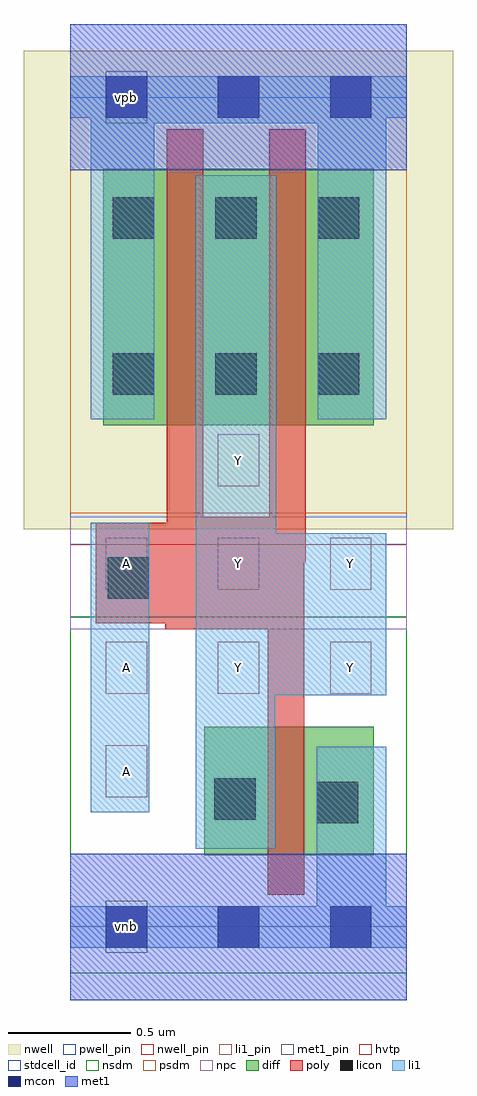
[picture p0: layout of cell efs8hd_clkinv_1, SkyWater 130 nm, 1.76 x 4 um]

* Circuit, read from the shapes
.subckt efs8hd_clkinv_1 A Y vgnd vnb vpb vpwr
XM1 vgnd A Y vnb sky130_fd_pr__nfet_01v8 w=0.525 l=0.15
XM2 Y A vpwr vpb sky130_fd_pr__pfet_01v8_hvt w=1.05 l=0.15 m=2
.ends

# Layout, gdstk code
import gdstk
lib = gdstk.Library(unit=1e-6, precision=1e-09)
def R(c, l, rs):  # rectangles x0, y0, x1, y1
    for r in rs: c.add(gdstk.rectangle(r[:2], r[2:], *l))
def A(c, l, x, y, w, h, nx, ny, dx, dy):  # array of equal rectangles
    R(c, l, [(x+i*dx, y+j*dy, x+i*dx+w, y+j*dy+h) for i in range(nx) for j in range(ny)])
def P(c, l, *ps):  # polygons
    for p in ps: c.add(gdstk.Polygon(p, *l))
nwell_pin = (64, 16)
nwell = (64, 20)
diff = (65, 20)
poly = (66, 20)
licon = (66, 44)
li1_pin = (67, 16)
li1 = (67, 20)
mcon = (67, 44)
met1_pin = (68, 16)
met1 = (68, 20)
hvtp = (78, 44)
stdcell_id = (81, 4)
nsdm = (93, 44)
psdm = (94, 20)
npc = (95, 20)
pwell_pin = (122, 16)

efs8hd_clkinv_1 = lib.new_cell('efs8hd_clkinv_1')
R(efs8hd_clkinv_1, nwell_pin, [(0.145,3.294,0.315,3.506)])
R(efs8hd_clkinv_1, nwell, [(-0.19,1.63,1.57,3.59)])
R(efs8hd_clkinv_1, diff, [(0.55,0.294,1.245,0.819), (0.135,2.056,1.245,3.106)])
P(efs8hd_clkinv_1, poly, [(0.815,3.269),(0.815,1.681),(0.545,1.681),(0.545,3.269),(0.395,3.269),(0.395,1.656),(0.105,1.656),(0.105,1.244),(0.39,1.244),(0.39,1.219),(0.81,1.219),(0.81,0.131),(0.96,0.131),(0.96,1.494),(0.965,1.494),(0.965,3.269)])
A(efs8hd_clkinv_1, licon, 0.175, 2.181, 0.17, 0.17, 3, 2, 0.42, 0.638)
R(efs8hd_clkinv_1, licon, [(1.01,0.425,1.18,0.595), (0.59,0.438,0.76,0.608), (0.155,1.344,0.325,1.514)])
A(efs8hd_clkinv_1, li1_pin, 0.145, 0.956, 0.17, 0.213, 3, 2, 0.46, 0.425)
R(efs8hd_clkinv_1, li1_pin, [(0.145,0.531,0.315,0.744), (0.605,1.806,0.775,2.019)])
R(efs8hd_clkinv_1, li1, [(0.085,0.469,0.325,1.656)])
P(efs8hd_clkinv_1, li1, [(1.01,0.738),(1.01,0.085),(0,0.085),(0,-0.085),(1.38,-0.085),(1.38,0.085),(1.295,0.085),(1.295,0.738)],
  [(0.515,3.081),(0.515,0.319),(0.84,0.319),(0.84,0.95),(1.295,0.95),(1.295,1.613),(0.845,1.613),(0.845,3.081)],
  [(0,3.485),(0,3.315),(0.085,3.315),(0.085,2.081),(0.345,2.081),(0.345,3.294),(1.015,3.294),(1.015,2.081),(1.295,2.081),(1.295,3.315),(1.38,3.315),(1.38,3.485)])
R(efs8hd_clkinv_1, mcon, [(0.145,-0.085,0.315,0.085), (0.145,-0.085,0.315,0.085), (0.145,-0.085,0.315,0.085), (0.145,-0.085,0.315,0.085), (0.145,-0.085,0.315,0.085), (0.145,-0.085,0.315,0.085), (0.145,-0.085,0.315,0.085), (0.145,-0.085,0.315,0.085), (0.145,-0.085,0.315,0.085), (0.145,-0.085,0.315,0.085), (0.145,-0.085,0.315,0.085), (0.145,-0.085,0.315,0.085), (0.145,-0.085,0.315,0.085), (0.145,-0.085,0.315,0.085), (0.145,-0.085,0.315,0.085), (0.145,-0.085,0.315,0.085), (0.145,-0.085,0.315,0.085), (0.145,-0.085,0.315,0.085), (0.145,-0.085,0.315,0.085), (0.145,-0.085,0.315,0.085), (0.145,-0.085,0.315,0.085), (0.145,-0.085,0.315,0.085), (0.145,-0.085,0.315,0.085), (0.145,-0.085,0.315,0.085), (0.145,-0.085,0.315,0.085), (0.145,-0.085,0.315,0.085), (0.145,-0.085,0.315,0.085), (0.145,-0.085,0.315,0.085), (0.145,-0.085,0.315,0.085), (0.145,-0.085,0.315,0.085), (0.145,-0.085,0.315,0.085), (0.145,-0.085,0.315,0.085), (0.145,-0.085,0.315,0.085), (0.145,-0.085,0.315,0.085), (0.145,-0.085,0.315,0.085), (0.145,-0.085,0.315,0.085), (0.145,-0.085,0.315,0.085), (0.145,-0.085,0.315,0.085), (0.145,-0.085,0.315,0.085), (0.145,-0.085,0.315,0.085), (0.145,-0.085,0.315,0.085), (0.145,-0.085,0.315,0.085), (0.145,-0.085,0.315,0.085), (0.145,-0.085,0.315,0.085), (0.145,-0.085,0.315,0.085), (0.145,-0.085,0.315,0.085), (0.145,-0.085,0.315,0.085), (0.145,-0.085,0.315,0.085), (0.145,-0.085,0.315,0.085), (0.145,-0.085,0.315,0.085), (0.145,-0.085,0.315,0.085), (0.145,-0.085,0.315,0.085), (0.145,-0.085,0.315,0.085), (0.145,-0.085,0.315,0.085), (0.145,-0.085,0.315,0.085), (0.145,-0.085,0.315,0.085), (0.145,-0.085,0.315,0.085), (0.145,-0.085,0.315,0.085), (0.145,-0.085,0.315,0.085), (0.145,-0.085,0.315,0.085), (0.145,-0.085,0.315,0.085), (0.145,-0.085,0.315,0.085), (0.145,-0.085,0.315,0.085), (0.145,-0.085,0.315,0.085), (0.145,-0.085,0.315,0.085), (0.145,-0.085,0.315,0.085), (0.145,-0.085,0.315,0.085), (0.145,-0.085,0.315,0.085), (0.145,-0.085,0.315,0.085), (0.145,-0.085,0.315,0.085), (0.145,-0.085,0.315,0.085), (0.145,-0.085,0.315,0.085), (0.145,-0.085,0.315,0.085), (0.145,-0.085,0.315,0.085), (0.145,-0.085,0.315,0.085), (0.145,-0.085,0.315,0.085), (0.145,-0.085,0.315,0.085), (0.145,-0.085,0.315,0.085), (0.145,-0.085,0.315,0.085), (0.145,-0.085,0.315,0.085), (0.145,-0.085,0.315,0.085), (0.145,-0.085,0.315,0.085), (0.145,-0.085,0.315,0.085), (0.145,-0.085,0.315,0.085), (0.145,-0.085,0.315,0.085), (0.145,-0.085,0.315,0.085), (0.145,-0.085,0.315,0.085), (0.145,-0.085,0.315,0.085), (0.145,-0.085,0.315,0.085), (0.145,-0.085,0.315,0.085), (0.145,-0.085,0.315,0.085), (0.145,-0.085,0.315,0.085), (0.145,-0.085,0.315,0.085), (0.145,-0.085,0.315,0.085), (0.145,-0.085,0.315,0.085), (0.145,-0.085,0.315,0.085), (0.145,-0.085,0.315,0.085), (0.145,-0.085,0.315,0.085), (0.145,-0.085,0.315,0.085), (0.145,-0.085,0.315,0.085), (0.145,-0.085,0.315,0.085), (0.145,-0.085,0.315,0.085), (0.145,-0.085,0.315,0.085), (0.145,-0.085,0.315,0.085), (0.145,-0.085,0.315,0.085), (0.145,-0.085,0.315,0.085), (0.145,-0.085,0.315,0.085), (0.145,-0.085,0.315,0.085), (0.145,-0.085,0.315,0.085), (0.605,-0.085,0.775,0.085), (0.605,-0.085,0.775,0.085), (0.605,-0.085,0.775,0.085), (0.605,-0.085,0.775,0.085), (0.605,-0.085,0.775,0.085), (0.605,-0.085,0.775,0.085), (0.605,-0.085,0.775,0.085), (0.605,-0.085,0.775,0.085), (0.605,-0.085,0.775,0.085), (0.605,-0.085,0.775,0.085), (0.605,-0.085,0.775,0.085), (0.605,-0.085,0.775,0.085), (0.605,-0.085,0.775,0.085), (0.605,-0.085,0.775,0.085), (0.605,-0.085,0.775,0.085), (0.605,-0.085,0.775,0.085), (0.605,-0.085,0.775,0.085), (0.605,-0.085,0.775,0.085), (0.605,-0.085,0.775,0.085), (0.605,-0.085,0.775,0.085), (0.605,-0.085,0.775,0.085), (0.605,-0.085,0.775,0.085), (0.605,-0.085,0.775,0.085), (0.605,-0.085,0.775,0.085), (0.605,-0.085,0.775,0.085), (0.605,-0.085,0.775,0.085), (0.605,-0.085,0.775,0.085), (0.605,-0.085,0.775,0.085), (0.605,-0.085,0.775,0.085), (0.605,-0.085,0.775,0.085), (0.605,-0.085,0.775,0.085), (0.605,-0.085,0.775,0.085), (0.605,-0.085,0.775,0.085), (0.605,-0.085,0.775,0.085), (0.605,-0.085,0.775,0.085), (0.605,-0.085,0.775,0.085), (0.605,-0.085,0.775,0.085), (0.605,-0.085,0.775,0.085), (0.605,-0.085,0.775,0.085), (0.605,-0.085,0.775,0.085), (0.605,-0.085,0.775,0.085), (0.605,-0.085,0.775,0.085), (0.605,-0.085,0.775,0.085), (0.605,-0.085,0.775,0.085), (0.605,-0.085,0.775,0.085), (0.605,-0.085,0.775,0.085), (0.605,-0.085,0.775,0.085), (0.605,-0.085,0.775,0.085), (0.605,-0.085,0.775,0.085), (0.605,-0.085,0.775,0.085), (0.605,-0.085,0.775,0.085), (0.605,-0.085,0.775,0.085), (0.605,-0.085,0.775,0.085), (0.605,-0.085,0.775,0.085), (0.605,-0.085,0.775,0.085), (0.605,-0.085,0.775,0.085), (0.605,-0.085,0.775,0.085), (0.605,-0.085,0.775,0.085), (0.605,-0.085,0.775,0.085), (0.605,-0.085,0.775,0.085), (0.605,-0.085,0.775,0.085), (0.605,-0.085,0.775,0.085), (0.605,-0.085,0.775,0.085), (0.605,-0.085,0.775,0.085), (0.605,-0.085,0.775,0.085), (0.605,-0.085,0.775,0.085), (0.605,-0.085,0.775,0.085), (0.605,-0.085,0.775,0.085), (0.605,-0.085,0.775,0.085), (0.605,-0.085,0.775,0.085), (0.605,-0.085,0.775,0.085), (0.605,-0.085,0.775,0.085), (0.605,-0.085,0.775,0.085), (0.605,-0.085,0.775,0.085), (0.605,-0.085,0.775,0.085), (0.605,-0.085,0.775,0.085), (0.605,-0.085,0.775,0.085), (0.605,-0.085,0.775,0.085), (0.605,-0.085,0.775,0.085), (0.605,-0.085,0.775,0.085), (0.605,-0.085,0.775,0.085), (0.605,-0.085,0.775,0.085), (0.605,-0.085,0.775,0.085), (0.605,-0.085,0.775,0.085), (0.605,-0.085,0.775,0.085), (0.605,-0.085,0.775,0.085), (0.605,-0.085,0.775,0.085), (0.605,-0.085,0.775,0.085), (0.605,-0.085,0.775,0.085), (0.605,-0.085,0.775,0.085), (0.605,-0.085,0.775,0.085), (0.605,-0.085,0.775,0.085), (0.605,-0.085,0.775,0.085), (0.605,-0.085,0.775,0.085), (0.605,-0.085,0.775,0.085), (0.605,-0.085,0.775,0.085), (0.605,-0.085,0.775,0.085), (0.605,-0.085,0.775,0.085), (0.605,-0.085,0.775,0.085), (0.605,-0.085,0.775,0.085), (0.605,-0.085,0.775,0.085), (0.605,-0.085,0.775,0.085), (0.605,-0.085,0.775,0.085), (0.605,-0.085,0.775,0.085), (0.605,-0.085,0.775,0.085), (0.605,-0.085,0.775,0.085), (0.605,-0.085,0.775,0.085), (0.605,-0.085,0.775,0.085), (0.605,-0.085,0.775,0.085), (1.065,-0.085,1.235,0.085), (1.065,-0.085,1.235,0.085), (1.065,-0.085,1.235,0.085), (1.065,-0.085,1.235,0.085), (1.065,-0.085,1.235,0.085), (1.065,-0.085,1.235,0.085), (1.065,-0.085,1.235,0.085), (1.065,-0.085,1.235,0.085), (1.065,-0.085,1.235,0.085), (1.065,-0.085,1.235,0.085), (1.065,-0.085,1.235,0.085), (1.065,-0.085,1.235,0.085), (1.065,-0.085,1.235,0.085), (1.065,-0.085,1.235,0.085), (1.065,-0.085,1.235,0.085), (1.065,-0.085,1.235,0.085), (1.065,-0.085,1.235,0.085), (1.065,-0.085,1.235,0.085), (1.065,-0.085,1.235,0.085), (1.065,-0.085,1.235,0.085), (1.065,-0.085,1.235,0.085), (1.065,-0.085,1.235,0.085), (1.065,-0.085,1.235,0.085), (1.065,-0.085,1.235,0.085), (1.065,-0.085,1.235,0.085), (1.065,-0.085,1.235,0.085), (1.065,-0.085,1.235,0.085), (1.065,-0.085,1.235,0.085), (1.065,-0.085,1.235,0.085), (1.065,-0.085,1.235,0.085), (1.065,-0.085,1.235,0.085), (1.065,-0.085,1.235,0.085), (1.065,-0.085,1.235,0.085), (1.065,-0.085,1.235,0.085), (1.065,-0.085,1.235,0.085), (1.065,-0.085,1.235,0.085), (1.065,-0.085,1.235,0.085), (1.065,-0.085,1.235,0.085), (1.065,-0.085,1.235,0.085), (1.065,-0.085,1.235,0.085), (1.065,-0.085,1.235,0.085), (1.065,-0.085,1.235,0.085), (1.065,-0.085,1.235,0.085), (1.065,-0.085,1.235,0.085), (1.065,-0.085,1.235,0.085), (1.065,-0.085,1.235,0.085), (1.065,-0.085,1.235,0.085), (1.065,-0.085,1.235,0.085), (1.065,-0.085,1.235,0.085), (1.065,-0.085,1.235,0.085), (1.065,-0.085,1.235,0.085), (1.065,-0.085,1.235,0.085), (1.065,-0.085,1.235,0.085), (1.065,-0.085,1.235,0.085), (1.065,-0.085,1.235,0.085), (1.065,-0.085,1.235,0.085), (1.065,-0.085,1.235,0.085), (1.065,-0.085,1.235,0.085), (1.065,-0.085,1.235,0.085), (1.065,-0.085,1.235,0.085), (1.065,-0.085,1.235,0.085), (1.065,-0.085,1.235,0.085), (1.065,-0.085,1.235,0.085), (1.065,-0.085,1.235,0.085), (1.065,-0.085,1.235,0.085), (1.065,-0.085,1.235,0.085), (1.065,-0.085,1.235,0.085), (1.065,-0.085,1.235,0.085), (1.065,-0.085,1.235,0.085), (1.065,-0.085,1.235,0.085), (1.065,-0.085,1.235,0.085), (1.065,-0.085,1.235,0.085), (1.065,-0.085,1.235,0.085), (1.065,-0.085,1.235,0.085), (1.065,-0.085,1.235,0.085), (1.065,-0.085,1.235,0.085), (1.065,-0.085,1.235,0.085), (1.065,-0.085,1.235,0.085), (1.065,-0.085,1.235,0.085), (1.065,-0.085,1.235,0.085), (1.065,-0.085,1.235,0.085), (1.065,-0.085,1.235,0.085), (1.065,-0.085,1.235,0.085), (1.065,-0.085,1.235,0.085), (1.065,-0.085,1.235,0.085), (1.065,-0.085,1.235,0.085), (1.065,-0.085,1.235,0.085), (1.065,-0.085,1.235,0.085), (1.065,-0.085,1.235,0.085), (1.065,-0.085,1.235,0.085), (1.065,-0.085,1.235,0.085), (1.065,-0.085,1.235,0.085), (1.065,-0.085,1.235,0.085), (1.065,-0.085,1.235,0.085), (1.065,-0.085,1.235,0.085), (1.065,-0.085,1.235,0.085), (1.065,-0.085,1.235,0.085), (1.065,-0.085,1.235,0.085), (1.065,-0.085,1.235,0.085), (1.065,-0.085,1.235,0.085), (1.065,-0.085,1.235,0.085), (1.065,-0.085,1.235,0.085), (1.065,-0.085,1.235,0.085), (1.065,-0.085,1.235,0.085), (1.065,-0.085,1.235,0.085), (1.065,-0.085,1.235,0.085), (1.065,-0.085,1.235,0.085), (1.065,-0.085,1.235,0.085), (1.065,-0.085,1.235,0.085), (0.145,3.315,0.315,3.485), (0.145,3.315,0.315,3.485), (0.145,3.315,0.315,3.485), (0.145,3.315,0.315,3.485), (0.145,3.315,0.315,3.485), (0.145,3.315,0.315,3.485), (0.145,3.315,0.315,3.485), (0.145,3.315,0.315,3.485), (0.145,3.315,0.315,3.485), (0.145,3.315,0.315,3.485), (0.145,3.315,0.315,3.485), (0.145,3.315,0.315,3.485), (0.145,3.315,0.315,3.485), (0.145,3.315,0.315,3.485), (0.145,3.315,0.315,3.485), (0.145,3.315,0.315,3.485), (0.145,3.315,0.315,3.485), (0.145,3.315,0.315,3.485), (0.145,3.315,0.315,3.485), (0.145,3.315,0.315,3.485), (0.145,3.315,0.315,3.485), (0.145,3.315,0.315,3.485), (0.145,3.315,0.315,3.485), (0.145,3.315,0.315,3.485), (0.145,3.315,0.315,3.485), (0.145,3.315,0.315,3.485), (0.145,3.315,0.315,3.485), (0.145,3.315,0.315,3.485), (0.145,3.315,0.315,3.485), (0.145,3.315,0.315,3.485), (0.145,3.315,0.315,3.485), (0.145,3.315,0.315,3.485), (0.145,3.315,0.315,3.485), (0.145,3.315,0.315,3.485), (0.145,3.315,0.315,3.485), (0.145,3.315,0.315,3.485), (0.145,3.315,0.315,3.485), (0.145,3.315,0.315,3.485), (0.145,3.315,0.315,3.485), (0.145,3.315,0.315,3.485), (0.145,3.315,0.315,3.485), (0.145,3.315,0.315,3.485), (0.145,3.315,0.315,3.485), (0.145,3.315,0.315,3.485), (0.145,3.315,0.315,3.485), (0.145,3.315,0.315,3.485), (0.145,3.315,0.315,3.485), (0.145,3.315,0.315,3.485), (0.145,3.315,0.315,3.485), (0.145,3.315,0.315,3.485), (0.145,3.315,0.315,3.485), (0.145,3.315,0.315,3.485), (0.145,3.315,0.315,3.485), (0.145,3.315,0.315,3.485), (0.145,3.315,0.315,3.485), (0.145,3.315,0.315,3.485), (0.145,3.315,0.315,3.485), (0.145,3.315,0.315,3.485), (0.145,3.315,0.315,3.485), (0.145,3.315,0.315,3.485), (0.145,3.315,0.315,3.485), (0.145,3.315,0.315,3.485), (0.145,3.315,0.315,3.485), (0.145,3.315,0.315,3.485), (0.145,3.315,0.315,3.485), (0.145,3.315,0.315,3.485), (0.145,3.315,0.315,3.485), (0.145,3.315,0.315,3.485), (0.145,3.315,0.315,3.485), (0.145,3.315,0.315,3.485), (0.145,3.315,0.315,3.485), (0.145,3.315,0.315,3.485), (0.145,3.315,0.315,3.485), (0.145,3.315,0.315,3.485), (0.145,3.315,0.315,3.485), (0.145,3.315,0.315,3.485), (0.145,3.315,0.315,3.485), (0.145,3.315,0.315,3.485), (0.145,3.315,0.315,3.485), (0.145,3.315,0.315,3.485), (0.145,3.315,0.315,3.485), (0.145,3.315,0.315,3.485), (0.145,3.315,0.315,3.485), (0.145,3.315,0.315,3.485), (0.145,3.315,0.315,3.485), (0.145,3.315,0.315,3.485), (0.145,3.315,0.315,3.485), (0.145,3.315,0.315,3.485), (0.145,3.315,0.315,3.485), (0.145,3.315,0.315,3.485), (0.145,3.315,0.315,3.485), (0.145,3.315,0.315,3.485), (0.145,3.315,0.315,3.485), (0.145,3.315,0.315,3.485), (0.145,3.315,0.315,3.485), (0.145,3.315,0.315,3.485), (0.145,3.315,0.315,3.485), (0.145,3.315,0.315,3.485), (0.145,3.315,0.315,3.485), (0.145,3.315,0.315,3.485), (0.145,3.315,0.315,3.485), (0.145,3.315,0.315,3.485), (0.145,3.315,0.315,3.485), (0.145,3.315,0.315,3.485), (0.145,3.315,0.315,3.485), (0.145,3.315,0.315,3.485), (0.145,3.315,0.315,3.485), (0.145,3.315,0.315,3.485), (0.145,3.315,0.315,3.485), (0.605,3.315,0.775,3.485), (0.605,3.315,0.775,3.485), (0.605,3.315,0.775,3.485), (0.605,3.315,0.775,3.485), (0.605,3.315,0.775,3.485), (0.605,3.315,0.775,3.485), (0.605,3.315,0.775,3.485), (0.605,3.315,0.775,3.485), (0.605,3.315,0.775,3.485), (0.605,3.315,0.775,3.485), (0.605,3.315,0.775,3.485), (0.605,3.315,0.775,3.485), (0.605,3.315,0.775,3.485), (0.605,3.315,0.775,3.485), (0.605,3.315,0.775,3.485), (0.605,3.315,0.775,3.485), (0.605,3.315,0.775,3.485), (0.605,3.315,0.775,3.485), (0.605,3.315,0.775,3.485), (0.605,3.315,0.775,3.485), (0.605,3.315,0.775,3.485), (0.605,3.315,0.775,3.485), (0.605,3.315,0.775,3.485), (0.605,3.315,0.775,3.485), (0.605,3.315,0.775,3.485), (0.605,3.315,0.775,3.485), (0.605,3.315,0.775,3.485), (0.605,3.315,0.775,3.485), (0.605,3.315,0.775,3.485), (0.605,3.315,0.775,3.485), (0.605,3.315,0.775,3.485), (0.605,3.315,0.775,3.485), (0.605,3.315,0.775,3.485), (0.605,3.315,0.775,3.485), (0.605,3.315,0.775,3.485), (0.605,3.315,0.775,3.485), (0.605,3.315,0.775,3.485), (0.605,3.315,0.775,3.485), (0.605,3.315,0.775,3.485), (0.605,3.315,0.775,3.485), (0.605,3.315,0.775,3.485), (0.605,3.315,0.775,3.485), (0.605,3.315,0.775,3.485), (0.605,3.315,0.775,3.485), (0.605,3.315,0.775,3.485), (0.605,3.315,0.775,3.485), (0.605,3.315,0.775,3.485), (0.605,3.315,0.775,3.485), (0.605,3.315,0.775,3.485), (0.605,3.315,0.775,3.485), (0.605,3.315,0.775,3.485), (0.605,3.315,0.775,3.485), (0.605,3.315,0.775,3.485), (0.605,3.315,0.775,3.485), (0.605,3.315,0.775,3.485), (0.605,3.315,0.775,3.485), (0.605,3.315,0.775,3.485), (0.605,3.315,0.775,3.485), (0.605,3.315,0.775,3.485), (0.605,3.315,0.775,3.485), (0.605,3.315,0.775,3.485), (0.605,3.315,0.775,3.485), (0.605,3.315,0.775,3.485), (0.605,3.315,0.775,3.485), (0.605,3.315,0.775,3.485), (0.605,3.315,0.775,3.485), (0.605,3.315,0.775,3.485), (0.605,3.315,0.775,3.485), (0.605,3.315,0.775,3.485), (0.605,3.315,0.775,3.485), (0.605,3.315,0.775,3.485), (0.605,3.315,0.775,3.485), (0.605,3.315,0.775,3.485), (0.605,3.315,0.775,3.485), (0.605,3.315,0.775,3.485), (0.605,3.315,0.775,3.485), (0.605,3.315,0.775,3.485), (0.605,3.315,0.775,3.485), (0.605,3.315,0.775,3.485), (0.605,3.315,0.775,3.485), (0.605,3.315,0.775,3.485), (0.605,3.315,0.775,3.485), (0.605,3.315,0.775,3.485), (0.605,3.315,0.775,3.485), (0.605,3.315,0.775,3.485), (0.605,3.315,0.775,3.485), (0.605,3.315,0.775,3.485), (0.605,3.315,0.775,3.485), (0.605,3.315,0.775,3.485), (0.605,3.315,0.775,3.485), (0.605,3.315,0.775,3.485), (0.605,3.315,0.775,3.485), (0.605,3.315,0.775,3.485), (0.605,3.315,0.775,3.485), (0.605,3.315,0.775,3.485), (0.605,3.315,0.775,3.485), (0.605,3.315,0.775,3.485), (0.605,3.315,0.775,3.485), (0.605,3.315,0.775,3.485), (0.605,3.315,0.775,3.485), (0.605,3.315,0.775,3.485), (0.605,3.315,0.775,3.485), (0.605,3.315,0.775,3.485), (0.605,3.315,0.775,3.485), (0.605,3.315,0.775,3.485), (0.605,3.315,0.775,3.485), (0.605,3.315,0.775,3.485), (0.605,3.315,0.775,3.485), (0.605,3.315,0.775,3.485), (1.065,3.315,1.235,3.485), (1.065,3.315,1.235,3.485), (1.065,3.315,1.235,3.485), (1.065,3.315,1.235,3.485), (1.065,3.315,1.235,3.485), (1.065,3.315,1.235,3.485), (1.065,3.315,1.235,3.485), (1.065,3.315,1.235,3.485), (1.065,3.315,1.235,3.485), (1.065,3.315,1.235,3.485), (1.065,3.315,1.235,3.485), (1.065,3.315,1.235,3.485), (1.065,3.315,1.235,3.485), (1.065,3.315,1.235,3.485), (1.065,3.315,1.235,3.485), (1.065,3.315,1.235,3.485), (1.065,3.315,1.235,3.485), (1.065,3.315,1.235,3.485), (1.065,3.315,1.235,3.485), (1.065,3.315,1.235,3.485), (1.065,3.315,1.235,3.485), (1.065,3.315,1.235,3.485), (1.065,3.315,1.235,3.485), (1.065,3.315,1.235,3.485), (1.065,3.315,1.235,3.485), (1.065,3.315,1.235,3.485), (1.065,3.315,1.235,3.485), (1.065,3.315,1.235,3.485), (1.065,3.315,1.235,3.485), (1.065,3.315,1.235,3.485), (1.065,3.315,1.235,3.485), (1.065,3.315,1.235,3.485), (1.065,3.315,1.235,3.485), (1.065,3.315,1.235,3.485), (1.065,3.315,1.235,3.485), (1.065,3.315,1.235,3.485), (1.065,3.315,1.235,3.485), (1.065,3.315,1.235,3.485), (1.065,3.315,1.235,3.485), (1.065,3.315,1.235,3.485), (1.065,3.315,1.235,3.485), (1.065,3.315,1.235,3.485), (1.065,3.315,1.235,3.485), (1.065,3.315,1.235,3.485), (1.065,3.315,1.235,3.485), (1.065,3.315,1.235,3.485), (1.065,3.315,1.235,3.485), (1.065,3.315,1.235,3.485), (1.065,3.315,1.235,3.485), (1.065,3.315,1.235,3.485), (1.065,3.315,1.235,3.485), (1.065,3.315,1.235,3.485), (1.065,3.315,1.235,3.485), (1.065,3.315,1.235,3.485), (1.065,3.315,1.235,3.485), (1.065,3.315,1.235,3.485), (1.065,3.315,1.235,3.485), (1.065,3.315,1.235,3.485), (1.065,3.315,1.235,3.485), (1.065,3.315,1.235,3.485), (1.065,3.315,1.235,3.485), (1.065,3.315,1.235,3.485), (1.065,3.315,1.235,3.485), (1.065,3.315,1.235,3.485), (1.065,3.315,1.235,3.485), (1.065,3.315,1.235,3.485), (1.065,3.315,1.235,3.485), (1.065,3.315,1.235,3.485), (1.065,3.315,1.235,3.485), (1.065,3.315,1.235,3.485), (1.065,3.315,1.235,3.485), (1.065,3.315,1.235,3.485), (1.065,3.315,1.235,3.485), (1.065,3.315,1.235,3.485), (1.065,3.315,1.235,3.485), (1.065,3.315,1.235,3.485), (1.065,3.315,1.235,3.485), (1.065,3.315,1.235,3.485), (1.065,3.315,1.235,3.485), (1.065,3.315,1.235,3.485), (1.065,3.315,1.235,3.485), (1.065,3.315,1.235,3.485), (1.065,3.315,1.235,3.485), (1.065,3.315,1.235,3.485), (1.065,3.315,1.235,3.485), (1.065,3.315,1.235,3.485), (1.065,3.315,1.235,3.485), (1.065,3.315,1.235,3.485), (1.065,3.315,1.235,3.485), (1.065,3.315,1.235,3.485), (1.065,3.315,1.235,3.485), (1.065,3.315,1.235,3.485), (1.065,3.315,1.235,3.485), (1.065,3.315,1.235,3.485), (1.065,3.315,1.235,3.485), (1.065,3.315,1.235,3.485), (1.065,3.315,1.235,3.485), (1.065,3.315,1.235,3.485), (1.065,3.315,1.235,3.485), (1.065,3.315,1.235,3.485), (1.065,3.315,1.235,3.485), (1.065,3.315,1.235,3.485), (1.065,3.315,1.235,3.485), (1.065,3.315,1.235,3.485), (1.065,3.315,1.235,3.485), (1.065,3.315,1.235,3.485), (1.065,3.315,1.235,3.485), (1.065,3.315,1.235,3.485), (1.065,3.315,1.235,3.485)])
R(efs8hd_clkinv_1, met1_pin, [(0.145,-0.106,0.315,0.106), (0.145,3.294,0.315,3.506)])
R(efs8hd_clkinv_1, met1, [(0,-0.3,1.38,0.3), (0,3.1,1.38,3.7)])
R(efs8hd_clkinv_1, hvtp, [(0,1.565,1.38,3.4)])
R(efs8hd_clkinv_1, stdcell_id, [(0,0,1.38,3.4)])
R(efs8hd_clkinv_1, nsdm, [(0,-0.19,1.38,1.27)])
R(efs8hd_clkinv_1, psdm, [(0,1.695,1.38,3.59)])
R(efs8hd_clkinv_1, npc, [(0,1.22,1.38,1.68)])
R(efs8hd_clkinv_1, pwell_pin, [(0.145,-0.106,0.315,0.106)])
efs8hd_clkinv_1.add(gdstk.Label('vnb', (0.23,0), layer=64, texttype=59))
efs8hd_clkinv_1.add(gdstk.Label('efs8hd_clkinv_1', (0,0), layer=83, texttype=44))
efs8hd_clkinv_1.add(gdstk.Label('vpb', (0.23,3.4), layer=64, texttype=5))
efs8hd_clkinv_1.add(gdstk.Label('A', (0.23,0.638), layer=67, texttype=5))
efs8hd_clkinv_1.add(gdstk.Label('A', (0.23,1.063), layer=67, texttype=5))
efs8hd_clkinv_1.add(gdstk.Label('Y', (0.69,1.063), layer=67, texttype=5))
efs8hd_clkinv_1.add(gdstk.Label('Y', (1.15,1.063), layer=67, texttype=5))
efs8hd_clkinv_1.add(gdstk.Label('A', (0.23,1.488), layer=67, texttype=5))
efs8hd_clkinv_1.add(gdstk.Label('Y', (0.69,1.488), layer=67, texttype=5))
efs8hd_clkinv_1.add(gdstk.Label('Y', (1.15,1.488), layer=67, texttype=5))
efs8hd_clkinv_1.add(gdstk.Label('Y', (0.69,1.913), layer=67, texttype=5))
efs8hd_clkinv_1.add(gdstk.Label('vgnd', (0.23,0), layer=68, texttype=5))
efs8hd_clkinv_1.add(gdstk.Label('vpwr', (0.23,3.4), layer=68, texttype=5))

lib.write_gds('efs8hd_clkinv_1.gds')
